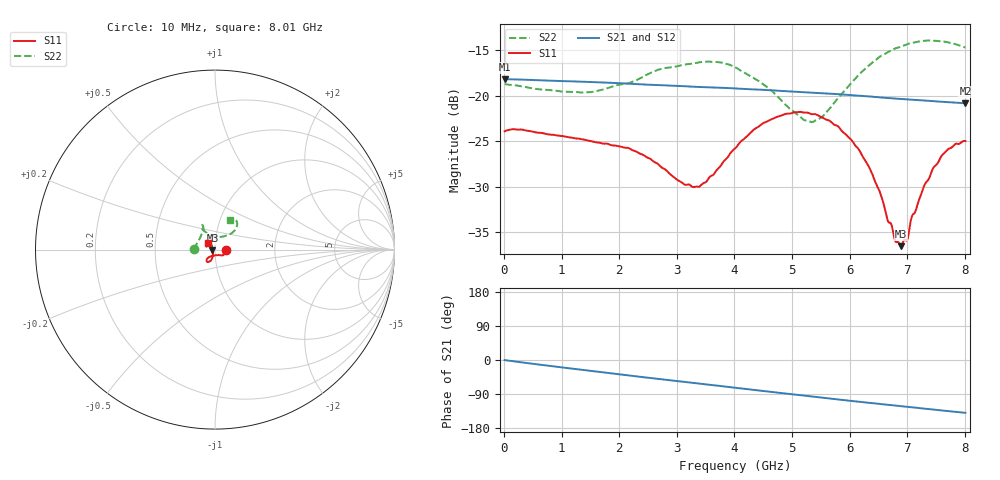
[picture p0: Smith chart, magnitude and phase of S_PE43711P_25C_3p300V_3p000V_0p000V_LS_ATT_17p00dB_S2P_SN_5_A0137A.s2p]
! Device ID: PE43711P
! File Path: z:\PE43711P\CHAR_NOM_04282014\AMB\3p300\LS_ATT_17p00dB\PE43711P_AMB_3p300V_3p000V_0p000V_LS_ATT_17p00dB_S2P_SN_5_A0137A.s2p
! Serial: 5
! Lot: A0137A
! Temp: 25C
! VDD: 3.300
! VSS: 0.000
! Control_Hi: 3.000
! Control_Lo: 0.000
! Attenuation Step: 17.00dB
! Port 1: RF1
! Port 2: RF2
! ThroughPath:1-2
! IDD: 0.0001274913
! ISS: -1.32e-007
#  Hz  S  RI  R  50
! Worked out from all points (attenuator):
!   801 points, 10 MHz to 8.01 GHz, reference 50 ohm
!   highest |S21| = -18.18 dB at 20 MHz (marker M1); lowest = -20.8 dB at 8.01 GHz (marker M2)
!   lowest |S11| = -36.5 dB at 6.89 GHz (marker M3), VSWR 1.03, Z = 48.6 - j0.346 ohm
!   |S11| at or under -10 dB: start of sweep to end of sweep
!   |S22| runs from -22.9 to -13.9 dB; largest |S21 - S12| = 0.00024
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1e7  0.0639 7.02e-05  0.1233 -0.000537  0.1235 -0.000574  -0.1163 0.000912
2e7  0.0641 -5.5e-05  0.1234 -0.000897  0.1234 -0.000916  -0.116 0.0015
1.35e9  0.0507 -0.0277  0.1076 -0.0523  0.1077 -0.0523  -0.0897 0.0529
2.16e9  0.0398 -0.0329  0.0883 -0.0762  0.0884 -0.0762  -0.0695 0.0947
2.68e9  0.0281 -0.0313  0.0738 -0.0876  0.0738 -0.0877  -0.0652 0.123
3.12e9  0.0115 -0.0307  0.0603 -0.0955  0.0604 -0.0956  -0.0666 0.1322
3.37e9  0.00039 -0.0317  0.0525 -0.0989  0.0525 -0.0989  -0.0689 0.1358
4.01e9  -0.0312 -0.0408  0.0317 -0.1051  0.0317 -0.1052  -0.0755 0.1221
4.68e9  -0.047 -0.0587  0.00949 -0.1066  0.00951 -0.1066  -0.0469 0.093
5.18e9  -0.0427 -0.069  -0.00617 -0.1046  -0.0062 -0.1046  -0.00725 0.0745
5.35e9  -0.0393 -0.0688  -0.0114 -0.1035  -0.0114 -0.1037  0.0108 0.0709
5.79e9  -0.0257 -0.0632  -0.0246 -0.0992  -0.0247 -0.0992  0.0585 0.0765
6.16e9  -0.0161 -0.0481  -0.0347 -0.094  -0.0347 -0.094  0.093 0.0918
6.38e9  -0.0124 -0.036  -0.0401 -0.0905  -0.0402 -0.0906  0.1085 0.1051
6.68e9  -0.0123 -0.0159  -0.0467 -0.0853  -0.0466 -0.0854  0.1203 0.127
6.8e9  -0.013 -0.00896  -0.0491 -0.0831  -0.0491 -0.0831  0.1227 0.1352
6.89e9  -0.0145 -0.00356  -0.0509 -0.0815  -0.0509 -0.0815  0.1237 0.1406
7e9  -0.0158 0.00312  -0.053 -0.0795  -0.053 -0.0796  0.1237 0.1469
7.09e9  -0.0202 0.00888  -0.0548 -0.0779  -0.0548 -0.0779  0.1218 0.1525
7.46e9  -0.0299 0.0273  -0.0613 -0.0705  -0.0613 -0.0706  0.1089 0.1687
7.69e9  -0.0363 0.0348  -0.0647 -0.0658  -0.0648 -0.0658  0.0964 0.1723
8.01e9  -0.0406 0.0391  -0.0691 -0.0593  -0.0693 -0.0591  0.0815 0.1649
